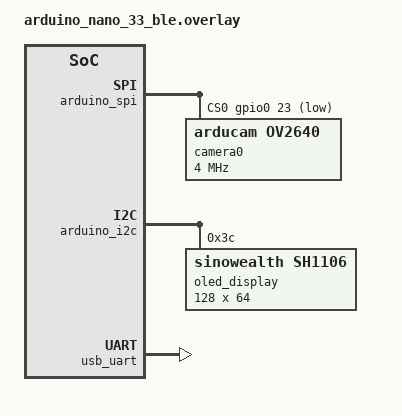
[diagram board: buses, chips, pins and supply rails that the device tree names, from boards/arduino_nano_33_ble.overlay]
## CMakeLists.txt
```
# License: Apache-2.0

cmake_minimum_required(VERSION 3.20)
find_package(Zephyr REQUIRED HINTS $ENV{ZEPHYR_BASE})

project(digit_recognizer LANGUAGES C CXX)

set(NO_THREADSAFE_STATICS $<TARGET_PROPERTY:compiler-cpp,no_threadsafe_statics>)
zephyr_compile_options($<$<COMPILE_LANGUAGE:CXX>:${NO_THREADSAFE_STATICS}>)

include_directories(include)

file(GLOB_RECURSE app_sources src/*.c
                              src/*.h
                              src/*.cpp
                              src/*.hpp)

target_sources(app PRIVATE ${app_sources})
```

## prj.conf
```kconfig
CONFIG_CPP=y
CONFIG_STD_CPP17=y

CONFIG_TENSORFLOW_LITE_MICRO=y
CONFIG_MAIN_STACK_SIZE=8192
CONFIG_HEAP_MEM_POOL_SIZE=16384

CONFIG_VIDEO=y
CONFIG_VIDEO_BUFFER_POOL_SZ_MAX=40000

CONFIG_DISPLAY=y
CONFIG_CHARACTER_FRAMEBUFFER=y
CONFIG_CHARACTER_FRAMEBUFFER_USE_DEFAULT_FONTS=y

CONFIG_LOG=y
CONFIG_LOG_MODE_DEFERRED=y
CONFIG_LOG_BACKEND_UART=y

CONFIG_USB_DEVICE_STACK=y
CONFIG_USB_DEVICE_PRODUCT="Zephyr USB-UART Console"
CONFIG_USB_DEVICE_INITIALIZE_AT_BOOT=n

CONFIG_SERIAL=y
CONFIG_CONSOLE=y
CONFIG_UART_CONSOLE=y
CONFIG_UART_LINE_CTRL=y
CONFIG_USB_CDC_ACM_LOG_LEVEL_OFF=y
```

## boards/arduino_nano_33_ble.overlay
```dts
/ {
    chosen {
        zephyr,camera = &camera0;
        zephyr,console = &usb_uart;
        zephyr,display = &oled_display;
    };
};

&arduino_spi {
    status = "okay";

    cs-gpios = <&gpio0 23 GPIO_ACTIVE_LOW>;

    camera0: arducam_ov2640@0 {
        compatible = "arducam,ov2640";
        reg = <0>;
        spi-max-frequency = <4000000>;
        control-bus = <&arduino_i2c 0x30>;
        clock-rate-control = <0x87>;
    };
};

&arduino_i2c {
    status = "okay";
    zephyr,concat-buf-size = <256>;

    oled_display: ssd1306@3c {
	compatible = "sinowealth,sh1106";
	reg = <0x3c>;
	width = <128>;
	height = <64>;
	segment-offset = <2>;
	page-offset = <0>;
	display-offset = <0>;
	multiplex-ratio = <63>;
	prechargep = <0x22>;
	segment-remap;
	com-invdir;
    };
};

&zephyr_udc0 {
    usb_uart: cdc_acm_uart0 {
        compatible = "zephyr,cdc-acm-uart";
        label = "Zephyr USB CDC-ACM";
        status = "okay";
    };
};
```

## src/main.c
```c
#include <stdint.h>
#include <zephyr/kernel.h>
#include <zephyr/devicetree.h>
#include <zephyr/drivers/video.h>
#include <zephyr/logging/log.h>

#include "usb.h"
#include "camera.h"
#include "input.h"
#include "tflite.hpp"
#include "display.h"

LOG_MODULE_REGISTER(main);

/* Capture buffer */
static struct video_buffer *vbuf;

/* Pointer to input tensor data */
static uint8_t *mnist;

static uint8_t mnist_cp[28 * 28];

/* Output prediction */
static struct prediction pred;

int main(void)
{
	if (enable_usb_uart()) {
		return 0;
	}

	if (setup_camera()) {
		return 0;
	}

#if DT_NODE_HAS_STATUS(DISPLAY_NODE, okay)
	if (setup_display()) {
		return 0;
	}
#endif

	if (setup_tflite()) {
		return 0;
	}

	vbuf = video_buffer_aligned_alloc(FRAME_SIZE, CONFIG_VIDEO_BUFFER_POOL_ALIGN, K_MSEC(100));
	if (!vbuf) {
		LOG_ERR("Failed to allocate frame buffer");
		return 0;
	}

	mnist = get_input_buffer();
	if (!mnist) {
		LOG_ERR("Failed to get model input pointer");
		return 0;
	}

	for (;;) {
		if (capture_frame(vbuf, CAPTURE_TIMEOUT)) {
			return 0;
		}

		LOG_DBG("Got frame! size: %u; timestamp %u ms", vbuf->bytesused, vbuf->timestamp);

		prepare_mnist_input(vbuf->buffer, mnist);
		memcpy(mnist_cp, mnist, 28 * 28);

		if (run_prediction(&pred)) {
			continue;
		};

#if DT_NODE_HAS_STATUS(DISPLAY_NODE, okay)
		display_prediction(mnist_cp, &pred);
#endif

		LOG_INF("Prediction: %u (confidence: %03u/255)", pred.value, pred.confidence);

		/* Don't spam the console */
		k_sleep(K_SECONDS(1));
	}
}
```

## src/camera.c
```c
#include <zephyr/device.h>
#include <zephyr/devicetree.h>
#include <zephyr/logging/log.h>
#include <zephyr/drivers/video.h>

#include "camera.h"

LOG_MODULE_REGISTER(camera);

/* Arducam camera device */
const static struct device *dev = DEVICE_DT_GET(DT_CHOSEN(zephyr_camera));

int setup_camera()
{
	struct video_format fmt;

	if (!device_is_ready(dev)) {
		LOG_ERR("%s: video device is not ready", dev->name);
		return -ENODEV;
	}

	video_get_format(dev, VIDEO_EP_OUT, &fmt);

	LOG_DBG("width: %u, height: %u, pitch: %u", fmt.width, fmt.height, fmt.pitch);

	return 0;
}

int capture_frame(struct video_buffer *frame_buffer, k_timeout_t timeout)
{
	int err = 0;

	if (!frame_buffer) {
		LOG_ERR("Invalid frame buffer");
		return -EINVAL;
	}

	if ((err = video_enqueue(dev, VIDEO_EP_OUT, frame_buffer))) {
		LOG_ERR("Failed to queue frame capture (%d)", err);
		return err;
	}

	if ((err = video_stream_start(dev))) {
		LOG_ERR("Failed to start frame capture (%d)", err);
		return err;
	}

	if ((err = video_dequeue(dev, VIDEO_EP_OUT, &frame_buffer, timeout))) {
		LOG_ERR("Failed to dequeue captured frame (%d)", err);
		return err;
	}

	return 0;
}
```

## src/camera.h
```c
#ifndef _CAMERA_H
#define _CAMERA_H

#include <zephyr/drivers/video.h>
#include <zephyr/sys_clock.h>
#include <zephyr/kernel.h>

#define FRAME_WIDTH     160
#define FRAME_HEIGHT    120
#define FRAME_SIZE      (FRAME_WIDTH * FRAME_HEIGHT * 2 + 4)
#define CAPTURE_TIMEOUT (K_MSEC(700))

int setup_camera();

int capture_frame(struct video_buffer *frame_buffer, k_timeout_t timeout);

#endif // _CAMERA_H
```

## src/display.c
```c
#include <stdbool.h>
#include <stdint.h>

#include <errno.h>
#include <zephyr/device.h>
#include <zephyr/logging/log.h>
#include <zephyr/drivers/display.h>
#include <zephyr/display/cfb.h>

#include "input.h"

#include "display.h"

LOG_MODULE_REGISTER(display);

#define DISPLAY_WIDTH  DT_PROP(DISPLAY_NODE, width)
#define DISPLAY_HEIGHT DT_PROP(DISPLAY_NODE, height)

#define BORDER_WIDTH  (MNIST_WIDTH + 2)
#define BORDER_HEIGHT (MNIST_HEIGHT + 2)

/* clang-format off */
#define CFB_POSITION(a, b) (struct cfb_position){.x = (a), .y = (b)}
/* clang-format on */

const static struct device *dev = DEVICE_DT_GET(DISPLAY_NODE);

static uint8_t font_height;

static int draw_border()
{
	int ret = 0;
	if ((ret = cfb_draw_line(dev, &CFB_POSITION(0, 0), &CFB_POSITION(BORDER_WIDTH, 0)))) {
		goto _border_exit;
	}
	if ((ret = cfb_draw_line(dev, &CFB_POSITION(0, BORDER_HEIGHT),
				 &CFB_POSITION(BORDER_WIDTH, BORDER_HEIGHT)))) {
		goto _border_exit;
	}
	if ((ret = cfb_draw_line(dev, &CFB_POSITION(0, 0), &CFB_POSITION(0, BORDER_HEIGHT)))) {
		goto _border_exit;
	}
	if ((ret = cfb_draw_line(dev, &CFB_POSITION(BORDER_WIDTH, 0),
				 &CFB_POSITION(BORDER_WIDTH, BORDER_HEIGHT)))) {
		goto _border_exit;
	}

	if (ret) {
		LOG_ERR("Failed to draw border");
	}

_border_exit:
	return ret;
}

static int draw_image(const uint8_t *mnist)
{
	for (uint8_t y = 0; y < MNIST_HEIGHT; ++y) {
		for (uint8_t x = 0; x < MNIST_WIDTH; ++x) {
			if (mnist[y * MNIST_WIDTH + x]) {
				if (cfb_draw_point(dev, &CFB_POSITION(x + 1, y + 1))) {
					LOG_ERR("Failed to draw mnist image");
					return -EIO;
				}
			}
		}
	}

	return 0;
}

int setup_display()
{
	uint8_t font_width;
	int ret = 0;

	if (!device_is_ready(dev)) {
		LOG_ERR("%s: display device is not ready", dev->name);
		ret = -ENODEV;
		goto _exit_setup;
	}

	if ((ret = display_set_pixel_format(dev, PIXEL_FORMAT_MONO01))) {
		LOG_ERR("Failed to set pixel format");
		goto _exit_setup;
	}

	if ((ret = cfb_framebuffer_init(dev))) {
		LOG_ERR("Framebuffer initialization failed");
		goto _exit_setup;
	}

	if ((ret = cfb_framebuffer_clear(dev, true))) {
		LOG_ERR("Failed to clear framebuffer");
		goto _exit_setup;
	}

	if ((ret = display_blanking_off(dev))) {
		LOG_ERR("Failed to disable display blanking");
		goto _exit_setup;
	}

	if ((ret = cfb_get_font_size(dev, 0, &font_width, &font_height))) {
		LOG_ERR("Failed to get display font size");
		goto _exit_setup;
	}

	if ((ret = cfb_framebuffer_set_font(dev, 0))) {
		LOG_ERR("Failed to set font size");
		goto _exit_setup;
	}

	LOG_DBG("Font height: %u", font_height);

	if ((ret = cfb_set_kerning(dev, 3))) {
		LOG_ERR("Failed to set font kerning");
		goto _exit_setup;
	}

_exit_setup:
	return ret;
}

int display_prediction(const uint8_t *mnist, const struct prediction *pred)
{
	int ret = 0;

	if ((ret = cfb_framebuffer_clear(dev, false))) {
		LOG_ERR("Failed to clear framebuffer");
		goto _exit_pred;
	}

	if ((ret = draw_border())) {
		goto _exit_pred;
	}

	if ((ret = draw_image(mnist))) {
		goto _exit_pred;
	}

	if ((ret = cfb_framebuffer_finalize(dev))) {
		LOG_ERR("Failed to draw framebuffer");
		goto _exit_pred;
	}

_exit_pred:
	return ret;
}
```

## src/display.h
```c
#ifndef _DISPLAY_H
#define _DISPLAY_H

#include <stdint.h>
#include <zephyr/devicetree.h>

#include "tflite.hpp"

#define DISPLAY_NODE DT_CHOSEN(zephyr_display)

int setup_display();

int display_prediction(const uint8_t *mnist, const struct prediction *pred);

#endif // _DISPLAY_H
```

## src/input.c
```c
#include <stdint.h>
#include <zephyr/sys/byteorder.h>
#include <zephyr/sys/util.h>

#include "camera.h"
#include "input.h"

void prepare_mnist_input(const uint8_t *rgb565, uint8_t *mnist)
{
	for (uint8_t oy = 0; oy < MNIST_HEIGHT; ++oy) {
		for (uint8_t ox = 0; ox < MNIST_WIDTH; ++ox) {
			/* Rotate 90 degrees right */
			int iy = FRAME_HEIGHT - 1 - ((ox * FRAME_HEIGHT) / MNIST_WIDTH);
			iy = CLAMP(iy, 0, FRAME_HEIGHT - 1);

			int ix = (oy * FRAME_WIDTH) / MNIST_HEIGHT;
			ix = CLAMP(ix, 0, FRAME_WIDTH - 1);

			// Get the 16-bit RGB565 pixel from the input buffer at (ix, iy)
			const uint8_t *pxl_ptr = rgb565 + (iy * FRAME_WIDTH + ix) * 2;
			uint16_t pxl = sys_be16_to_cpu(*(const uint16_t *)pxl_ptr);

			uint8_t r5 = (pxl >> 11) & 0x1F;
			uint8_t g6 = (pxl >> 5) & 0x3F;
			uint8_t b5 = pxl & 0x1F;

			uint8_t r = (r5 << 3) | (r5 >> 2);
			uint8_t g = (g6 << 2) | (g6 >> 4);
			uint8_t b = (b5 << 3) | (b5 >> 2);

			uint8_t gray = (uint8_t)((38 * r + 75 * g + 15 * b) >> 7);

			gray = gray >= 95 ? 0 : 255;

			mnist[oy * MNIST_WIDTH + ox] = gray;
		}
	}
}
```

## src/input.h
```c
#ifndef _INPUT_H
#define _INPUT_H

#include <stdint.h>

#define MNIST_WIDTH  28
#define MNIST_HEIGHT 28

void prepare_mnist_input(const uint8_t *rgb565, uint8_t *mnist);

#endif // _INPUT_H
```

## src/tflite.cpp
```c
#include <tensorflow/lite/micro/micro_interpreter.h>
#include <tensorflow/lite/schema/schema_generated.h>
#include <tensorflow/lite/micro/micro_mutable_op_resolver.h>
#include <tensorflow/lite/c/common.h>
#include <tensorflow/lite/c/c_api_types.h>
#include <stdint.h>
#include <zephyr/logging/log.h>

#include "model.hpp"
#include "tflite.hpp"

LOG_MODULE_REGISTER(tflite);

static constexpr int tensor_arena_size = 20 * 1024;
static uint8_t tensor_arena[tensor_arena_size];

const static tflite::Model *model = nullptr;
static tflite::MicroInterpreter *interpreter = nullptr;
static TfLiteTensor *model_input = nullptr;
static TfLiteTensor *model_output = nullptr;

int setup_tflite()
{
	model = tflite::GetModel(g_model);
	if (model->version() != TFLITE_SCHEMA_VERSION) {
		return -EINVAL;
	}

	static tflite::MicroMutableOpResolver<7> micro_op_resolver;
	micro_op_resolver.AddQuantize();
	micro_op_resolver.AddConv2D();
	micro_op_resolver.AddMaxPool2D();
	micro_op_resolver.AddReshape();
	micro_op_resolver.AddFullyConnected();
	micro_op_resolver.AddSoftmax();
	micro_op_resolver.AddDequantize();

	static tflite::MicroInterpreter static_interpreter(model, micro_op_resolver, tensor_arena,
							   tensor_arena_size);
	interpreter = &static_interpreter;

	interpreter->AllocateTensors();

	model_input = interpreter->input(0);
	model_output = interpreter->output(0);

	if ((model_input->dims->size != 4) || (model_input->dims->data[0] != 1) ||
	    (model_input->dims->data[1] != 28) || (model_input->dims->data[2] != 28) ||
	    model_input->type != kTfLiteUInt8) {
		LOG_ERR("Wrong input tensor parameters");
		return -EINVAL;
	}

	if ((model_output->dims->size != 2) || (model_output->dims->data[0] != 1) ||
	    (model_output->dims->data[1] != 10) || (model_output->type != kTfLiteUInt8)) {
		LOG_ERR("Wrong output tensor parameters");
		return -EINVAL;
	}

	return 0;
}

uint8_t *get_input_buffer()
{
	if (!model_input) {
		return nullptr;
	}

	return model_input->data.uint8;
}

int run_prediction(struct prediction *pred)
{
	uint8_t *data = model_output->data.uint8;

	TfLiteStatus status = interpreter->Invoke();
	if (status != kTfLiteOk) {
		LOG_ERR("Model invoke failed");
		return -EIO;
	}

	// max_val = model_output->data.uint8[0];
	pred->value = 0;
	pred->confidence = data[0];
	for (uint8_t i = 1; i < model_output->bytes; ++i) {
		if (pred->confidence < data[i]) {
			pred->value = i;
			pred->confidence = data[i];
		}
	}

	return 0;
}
```

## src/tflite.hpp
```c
#ifndef _TFLITE_HPP
#define _TFLITE_HPP

#include <stdint.h>

#ifdef __cplusplus
extern "C" {
#endif

struct prediction {
	uint8_t value;
	uint8_t confidence;
};

int setup_tflite();

uint8_t *get_input_buffer();

int run_prediction(struct prediction *pred);

#ifdef __cplusplus
}
#endif

#endif //_TFLITE_HPP
```

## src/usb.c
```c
#include <zephyr/device.h>
#include <zephyr/devicetree.h>
#include <zephyr/logging/log.h>
#include <zephyr/usb/usb_device.h>
#include <zephyr/drivers/uart.h>
#include <zephyr/kernel.h>

#include "usb.h"

LOG_MODULE_REGISTER(usb);

/* USB-UART device */
const static struct device *dev = DEVICE_DT_GET(DT_CHOSEN(zephyr_console));

/* Setup USB-UART console */
int enable_usb_uart(void)
{
	uint32_t dtr = 0;
	if (usb_enable(NULL)) {
		return -ENODEV;
	}

	while (!dtr) {
		uart_line_ctrl_get(dev, UART_LINE_CTRL_DTR, &dtr);
		k_sleep(K_MSEC(100));
	}

	LOG_INF("Logger initialized");
	return 0;
}
```

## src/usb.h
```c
#ifndef _USB_H
#define _USB_H

/* Setup USB-UART console */
int enable_usb_uart(void);

#endif // _USB_H
```
